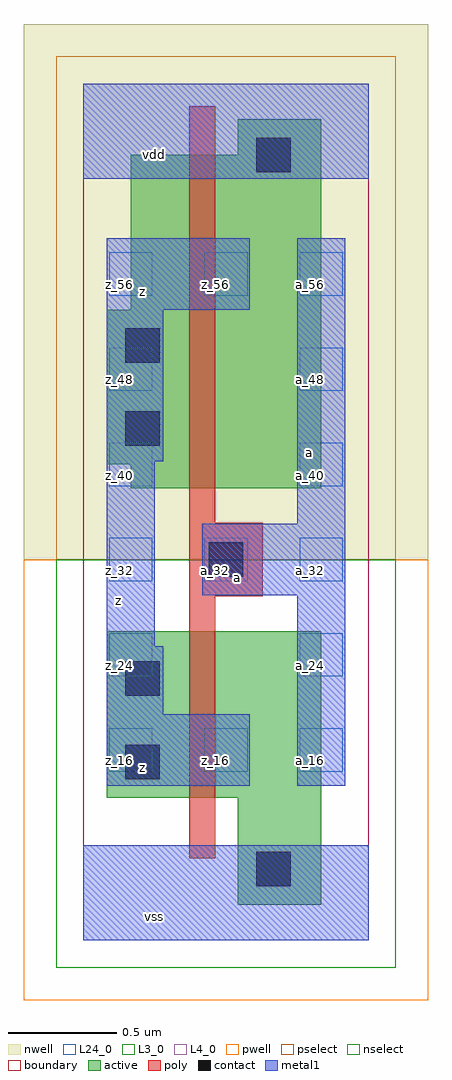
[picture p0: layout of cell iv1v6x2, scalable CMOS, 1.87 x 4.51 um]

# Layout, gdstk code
import gdstk
lib = gdstk.Library(unit=1e-6, precision=2.5e-09)
def R(c, l, rs):  # rectangles x0, y0, x1, y1
    for r in rs: c.add(gdstk.rectangle(r[:2], r[2:], *l))
def A(c, l, x, y, w, h, nx, ny, dx, dy):  # array of equal rectangles
    R(c, l, [(x+i*dx, y+j*dy, x+i*dx+w, y+j*dy+h) for i in range(nx) for j in range(ny)])
L3_0 = (3, 0)
L4_0 = (4, 0)
L24_0 = (24, 0)
contact = (25, 0)
pwell = (41, 0)
nwell = (42, 0)
active = (43, 0)
pselect = (44, 0)
nselect = (45, 0)
poly = (46, 0)
metal1 = (49, 0)
boundary = (63, 0)

iv1v6x2 = lib.new_cell('iv1v6x2')
R(iv1v6x2, L3_0, [(0.715,0.165,1.1,0.66), (0.11,0.66,1.1,1.43)])
R(iv1v6x2, L4_0, [(0.22,2.09,1.1,2.2), (0.11,2.2,1.1,2.915), (0.22,2.915,1.1,3.63), (0.715,3.63,1.1,3.795)])
A(iv1v6x2, L24_0, 0.12, 0.78, 0.2, 0.2, 3, 2, 0.44, 0.88)
A(iv1v6x2, L24_0, 0.12, 2.98, 0.2, 0.2, 3, 1, 0.44, 0)
R(iv1v6x2, L24_0, [(0.12,1.22,0.32,1.42), (1,1.22,1.2,1.42), (0.12,2.1,0.32,2.3), (1,2.1,1.2,2.3), (0.12,2.54,0.32,2.74), (1,2.54,1.2,2.74)])
R(iv1v6x2, contact, [(0.8,0.25,0.96,0.41), (0.195,0.745,0.355,0.905), (0.195,1.13,0.355,1.29), (0.58,1.68,0.74,1.84), (0.195,2.285,0.355,2.445), (0.195,2.67,0.355,2.83), (0.8,3.55,0.96,3.71)])
R(iv1v6x2, pwell, [(-0.275,-0.275,1.595,1.76)])
R(iv1v6x2, nwell, [(-0.275,1.76,1.595,4.235)])
R(iv1v6x2, active, [(0.715,0.165,1.1,0.66), (0.11,0.66,1.1,1.43), (0.22,2.09,1.1,2.2), (0.11,2.2,1.1,2.915), (0.22,2.915,1.1,3.63), (0.715,3.63,1.1,3.795)])
R(iv1v6x2, pselect, [(-0.125,1.76,1.445,4.085)])
R(iv1v6x2, nselect, [(-0.125,-0.125,1.445,1.76)])
R(iv1v6x2, poly, [(0.49,0.38,0.61,1.59), (0.49,1.59,0.83,1.93), (0.49,1.93,0.61,3.855)])
R(iv1v6x2, metal1, [(0,0,1.32,0.44), (0.11,0.715,0.77,1.045), (0.99,0.715,1.21,1.595), (0.11,1.045,0.37,1.36), (0.11,1.36,0.33,2.215), (0.55,1.595,1.21,1.925), (0.99,1.925,1.21,3.245), (0.11,2.215,0.37,2.915), (0.11,2.915,0.77,3.245), (0,3.52,1.32,3.96)])
R(iv1v6x2, boundary, [(0,0,1.32,3.96)])
iv1v6x2.add(gdstk.Label('vss', (0.33,0.11), layer=49, texttype=0))
iv1v6x2.add(gdstk.Label('z', (0.275,0.7975), layer=49, texttype=0))
iv1v6x2.add(gdstk.Label('a', (0.715,1.6775), layer=49, texttype=0))
iv1v6x2.add(gdstk.Label('a', (1.045,2.255), layer=49, texttype=0))
iv1v6x2.add(gdstk.Label('z', (0.165,1.5725), layer=49, texttype=0))
iv1v6x2.add(gdstk.Label('z', (0.275,2.9975), layer=49, texttype=0))
iv1v6x2.add(gdstk.Label('vdd', (0.33,3.63), layer=49, texttype=0))
iv1v6x2.add(gdstk.Label('z_16', (0.61,0.83), layer=24, texttype=0))
iv1v6x2.add(gdstk.Label('a_32', (0.61,1.71), layer=24, texttype=0))
iv1v6x2.add(gdstk.Label('z_56', (0.61,3.03), layer=24, texttype=0))
iv1v6x2.add(gdstk.Label('a_16', (1.05,0.83), layer=24, texttype=0))
iv1v6x2.add(gdstk.Label('a_24', (1.05,1.27), layer=24, texttype=0))
iv1v6x2.add(gdstk.Label('a_32', (1.05,1.71), layer=24, texttype=0))
iv1v6x2.add(gdstk.Label('a_40', (1.05,2.15), layer=24, texttype=0))
iv1v6x2.add(gdstk.Label('a_48', (1.05,2.59), layer=24, texttype=0))
iv1v6x2.add(gdstk.Label('a_56', (1.05,3.03), layer=24, texttype=0))
iv1v6x2.add(gdstk.Label('z_16', (0.17,0.83), layer=24, texttype=0))
iv1v6x2.add(gdstk.Label('z_24', (0.17,1.27), layer=24, texttype=0))
iv1v6x2.add(gdstk.Label('z_32', (0.17,1.71), layer=24, texttype=0))
iv1v6x2.add(gdstk.Label('z_40', (0.17,2.15), layer=24, texttype=0))
iv1v6x2.add(gdstk.Label('z_48', (0.17,2.59), layer=24, texttype=0))
iv1v6x2.add(gdstk.Label('z_56', (0.17,3.03), layer=24, texttype=0))

lib.write_gds('iv1v6x2.gds')
